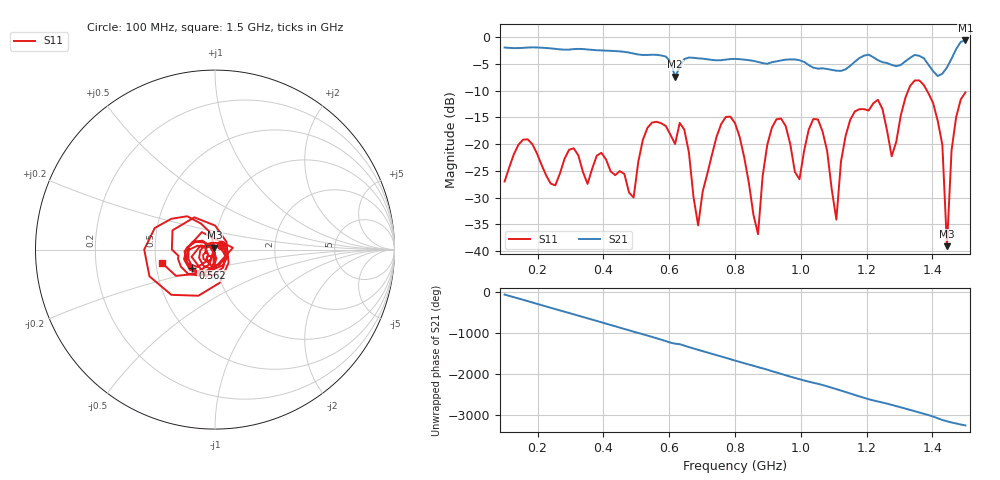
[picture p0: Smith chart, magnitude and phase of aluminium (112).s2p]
! NanoVNA-App
! Date: 2025-09-25 14:56:09
! Start: 100MHz Stop: 1,5GHz Points: 101
! S-Parameter data: F S11 S21 S12 S22
# Hz S RI R 50
!  Frequency  S11_Real  S11_Imag  S21_Real  S21_Imag  S12_Real  S12_Imag  S22_Real  S22_Imag
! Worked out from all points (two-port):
!   101 points, 100 MHz to 1.5 GHz, reference 50 ohm
!   highest |S21| = -0.60 dB at 1.5 GHz (marker M1); lowest = -7.4 dB at 618 MHz (marker M2)
!   |S21| within 3 dB of the highest: start of sweep to 588.9 MHz; 1.461 GHz to end of sweep (the widest 2 of 4)
!   lowest |S11| = -39.1 dB at 1.444 GHz (marker M3), VSWR 1.02, Z = 49.6 + j1.04 ohm
!   |S11| at or under -10 dB: start of sweep to 1.326 GHz; 1.383 GHz to end of sweep
!   S12 and S22 are empty: the file has one direction only
!   S11 on the Smith chart (normalised r, x): 100 MHz: 1.07, +0.06; 562 MHz: 0.76, -0.16; 1.5 GHz: 0.54, -0.09
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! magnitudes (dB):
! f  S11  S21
! 100 MHz  -27.0  -1.9
! 338 MHz  -25.2  -2.2
! 492 MHz  -30.0  -3.1
! 562 MHz  -15.8  -3.3
! 576 MHz  -16.1  -3.4
! 618 MHz  -20.0  -7.4
! 646 MHz  -17.3  -4.1
! 688 MHz  -35.2  -3.9
! 800 MHz  -16.1  -4.0
! 870 MHz  -36.9  -4.6
! 912 MHz  -16.9  -4.7
! 996 MHz  -26.6  -4.3
! 1.038 GHz  -15.3  -5.7
! 1.108 GHz  -34.1  -6.3
! 1.164 GHz  -13.9  -4.6
! 1.234 GHz  -11.7  -4.3
! 1.276 GHz  -22.3  -5.2
! 1.374 GHz  -9.0  -3.9
! 1.43 GHz  -20.1  -6.8
! 1.444 GHz  -39.1  -5.7
! 1.458 GHz  -21.1  -4.0
! 1.5 GHz  -10.3  -0.6
